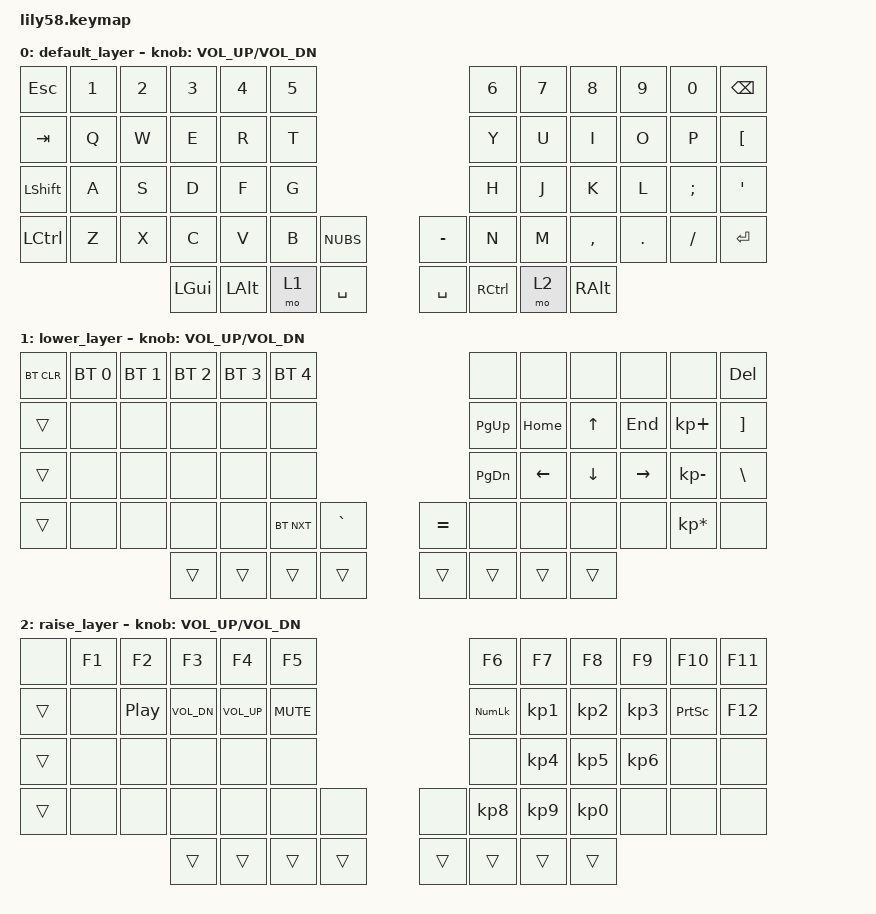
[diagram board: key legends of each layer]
/*
 * Copyright (c) 2020 The ZMK Contributors
 *
 * SPDX-License-Identifier: MIT
 */

#include <behaviors.dtsi>
#include <dt-bindings/zmk/keys.h>
#include <dt-bindings/zmk/bt.h>
#include <dt-bindings/zmk/ext_power.h>
#include <dt-bindings/zmk/behaviors.h>

/ {
    // Custom behavior: &display_toggle
    // - Bound to the both-space combo below (key positions 53 = left space,
    //   54 = right space).
    // - On press: blanks the OLED if it's on, unblanks if it's off.
    // - The 60s auto-off is handled by ZMK's activity-state machine via
    //   CONFIG_ZMK_DISPLAY_BLANK_ON_IDLE=y in lily58.conf.
    behaviors {
        display_toggle: status_display_toggle {
            compatible = "lily58pro,behavior-display-toggle";
            #binding-cells = <0>;
            display-name = "Display Toggle";
        };
    };

    // Combos: trigger custom behaviors from simultaneous key presses.
    combos {
        compatible = "zmk,combos";

        // Both SPACE keys pressed within 50ms = toggle the OLED.
        combo_display_toggle {
            timeout-ms = <50>;
            key-positions = <53 54>;
            bindings = <&display_toggle>;
        };
    };

    keymap {
        compatible = "zmk,keymap";

        default_layer {
// ------------------------------------------------------------------------------------------------------------
// |  ESC  |  1  |  2  |  3   |  4   |  5   |                   |  6   |  7    |  8    |  9   |   0   |  BSPC  |
// |  TAB  |  Q  |  W  |  E   |  R   |  T   |                   |  Y   |  U    |  I    |  O   |   P   |  LBKT  |
// | LSHFT |  A  |  S  |  D   |  F   |  G   |                   |  H   |  J    |  K    |  L   |  ;    |  QUOT  |
// | LCTRL |  Z  |  X  |  C   |  V   |  B   |  NUBS |   | MINS  |  N   |  M    |  ,    |  .   |       |  RET   |
//                     | LGUI | LALT | LOWER| SPACE |   | SPACE | RCTRL| RAISE | RALT  |
            bindings = <
&kp ESC   &kp N1 &kp N2 &kp N3 &kp N4 &kp N5                  &kp N6 &kp N7   &kp N8   &kp N9   &kp N0   &kp BSPC
&kp TAB   &kp Q  &kp W  &kp E  &kp R  &kp T                   &kp Y  &kp U    &kp I    &kp O    &kp P    &kp LBKT
&kp LSHFT &kp A  &kp S  &kp D  &kp F  &kp G                   &kp H  &kp J    &kp K    &kp L    &kp SEMI &kp SQT
&kp LCTRL &kp Z  &kp X  &kp C  &kp V  &kp B  &kp NUBS &kp MINUS &kp N &kp M    &kp COMMA &kp DOT &kp FSLH &kp RET
                    &kp LGUI &kp LALT &mo 1  &kp SPACE  &kp SPACE  &kp RCTRL &mo 2  &kp RALT
            >;

            sensor-bindings = <&inc_dec_kp C_VOL_UP C_VOL_DN>;
        };

        lower_layer {
// ------------------------------------------------------------------------------------------------------------
// | BTCLR | BT1 | BT2 |  BT3 |  BT4 |  BT5 |                   |      |       |       |      |       |  DEL  |
// |       |     |     |      |      |      |                   | PGUP | HOME  |  UP   | END  |   +   |       |
// |       |     |     |      |      |      |                   | PGDN | LEFT  | DOWN  | RIGHT|   -   |       |
// |       |     |     |      |      |BT NXT|  GRAVE|  |  EQUAL |      |       |   *   |      |       |       |
//                     |      |      |      |       |  |        |      |       |       |      |
            bindings = <
&bt BT_CLR &bt BT_SEL 0 &bt BT_SEL 1 &bt BT_SEL 2 &bt BT_SEL 3 &bt BT_SEL 4         &none &none &none &none &none &kp DEL
&trans   &none &none &none &none &none          &kp PG_UP &kp HOME &kp UP   &kp END   &kp KP_PLUS &kp RBKT
&trans   &none &none &none &none &none          &kp PG_DN &kp LEFT &kp DOWN &kp RIGHT &kp KP_MINUS &kp BSLH
&trans   &none &none &none &none &bt BT_NXT  &kp GRAVE &kp EQUAL &none &none &none &none &kp KP_ASTERISK &none
                       &trans  &trans  &trans   &trans         &trans   &trans   &trans  &trans
            >;

            sensor-bindings = <&inc_dec_kp C_VOL_UP C_VOL_DN>;
        };

        raise_layer {
// ------------------------------------------------------------------------------------------------------------
// |       | F1  | F2  |  F3  |  F4  |  F5  |                   |  F6  |  F7   |  F8   |  F9  |  F10  |  F11  |
// |       |     | PLAY| VOL- | VOL+ | MUTE |                   |N.LCK |   1   |   2   |   3  | PRINT |  F12  |
// |       |     |     |      |      |      |                   |      |   4   |   5   |   6  |       |       |
// |       |     |     |      |      |      |        |  |       |  8   |   9   |   0   |      |       |       |
//                     |      |      |      |        |  |       |      |       |       |      |
            bindings = <
&none &kp F1 &kp F2 &kp F3 &kp F4 &kp F5                   &kp F6  &kp F7  &kp F8  &kp F9  &kp F10  &kp F11
&trans   &none &kp C_PP &kp C_VOL_DN &kp C_VOL_UP &kp C_MUTE &kp KP_NLCK &kp KP_N1 &kp KP_N2 &kp KP_N3 &kp PRINTSCREEN &kp F12
&trans   &none &none &none &none &none          &none &kp KP_N4 &kp KP_N5 &kp KP_N6 &none &none
&trans   &none &none &none &none &none &none &none &kp KP_N8 &kp KP_N9 &kp KP_N0 &none &none &none
                       &trans  &trans  &trans   &trans   &trans   &trans  &trans  &trans
            >;

            sensor-bindings = <&inc_dec_kp C_VOL_UP C_VOL_DN>;
        };

        /*
         * adjust_layer - QMK layer 3 (unreachable, no MO(3)/TG(3)/LT(3) trigger)
         * Preserved as a commented-out layer per request.
         *
         * To enable:
         *   1. Add `#include <dt-bindings/zmk/rgb.h>` near the top of this file.
         *   2. Add `#define KC_MSEL_EQUIV (ZMK_HID_USAGE(HID_USAGE_CONSUMER, 0x0083))`
         *      above the keymap node.
         *   3. Uncomment the block below.
         *   4. Add a layer-3 trigger on a visible layer (e.g. `&mo 3`).
         *
         * Position layout (58 keys):
         *   row 0  z=0..5   | z=6..11
         *   row 1  z=12..17 | z=18..23
         *   row 2  z=24..29 | z=30..35
         *   row 3  z=36..41 | z=42..43 inner thumbs | z=44..49
         *   row 4  z=50..53 | z=54..57
         */
        /*
         *adjust_layer {
         *    bindings = <
         *&none &none &none &none &none &none          &none &none &none &none &none &none
         *&rgb_ug RGB_TOG 0 &rgb_ug RGB_HUI 0 &rgb_ug RGB_SAI 0 &rgb_ug RGB_BRI 0 &none &none
         *                                                                &none &none &kp SYS_WAKE &kp SYS_SLEEP &kp SYS_PWR &none
         *&rgb_ug RGB_EFF 0 &rgb_ug RGB_HUD 0 &rgb_ug RGB_SAD 0 &rgb_ug RGB_BRD 0 &none &none
         *                                                                &none &kp C_PREV &kp C_PP &kp C_NEXT &kp C_MUTE &kp LS(LC(ESC))
         *&trans   &none &none &none &none &none &none &none
         *                                                                &kp C_VOL_DN &kp KC_MSEL_EQUIV &kp C_VOL_UP &none &kp LC(LS(LG(B))) &none
         *                    &trans &trans &trans &trans &trans &trans &trans &trans
         *            >;
         *
         *            sensor-bindings = <&inc_dec_kp C_VOL_UP C_VOL_DN>;
         *        };
         */
    };
};
